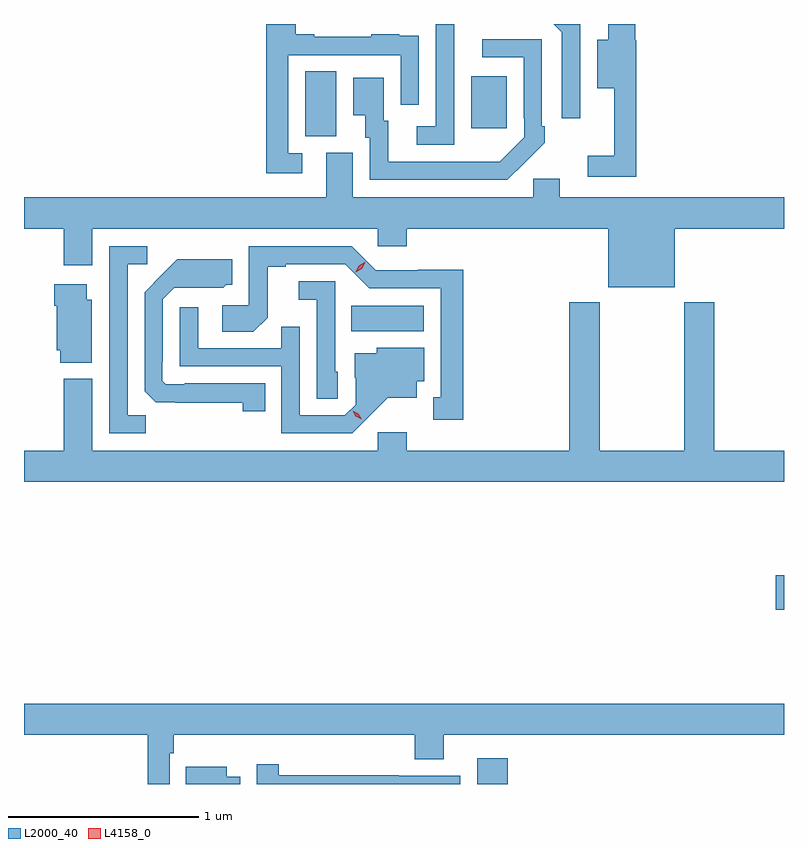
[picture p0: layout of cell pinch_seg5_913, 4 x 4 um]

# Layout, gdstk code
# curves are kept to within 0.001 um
import gdstk
lib = gdstk.Library(unit=1e-6, precision=1e-09)
def R(c, l, rs):  # rectangles x0, y0, x1, y1
    for r in rs: c.add(gdstk.rectangle(r[:2], r[2:], *l))
def P(c, l, *ps):  # polygons
    for p in ps: c.add(gdstk.Polygon(p, *l))
L2000_40 = (2000, 40)
L4158_0 = (4158, 0)

pinch_seg5_913 = lib.new_cell('pinch_seg5_913')
R(pinch_seg5_913, L2000_40, [(690.368,885.805,690.527,885.94), (691.938,886.721,691.982,886.904), (689.704,888.188,690.085,888.322), (689.462,889.213,689.626,889.556), (690.335,889.257,690.523,889.531)])
P(pinch_seg5_913, L2000_40, [(691.205,889.719),(691.199,889.719),(691.199,889.805),(691.058,889.805),(691.058,889.723),(690.998,889.723),(690.998,889.466),(691.088,889.466),(691.088,889.111),(690.948,889.111),(690.948,889.002),(691.205,889.002)],
  [(689.446,889.125),(689.373,889.125),(689.373,889.641),(689.964,889.641),(689.964,889.38),(690.06,889.38),(690.06,889.634),(690.059,889.634),(690.059,889.743),(689.957,889.743),(689.957,889.75),(689.809,889.75),(689.809,889.737),(689.509,889.737),(689.509,889.75),(689.413,889.75),(689.413,889.805),(689.257,889.805),(689.257,889.02),(689.446,889.02)],
  [(690.909,889.803),(690.907,889.805),(690.769,889.805),(690.813,889.761),(690.813,889.308),(690.909,889.308)],
  [(690.246,889.627),(690.247,889.627),(690.247,889.805),(690.15,889.805),(690.15,889.266),(690.048,889.266),(690.048,889.17),(690.246,889.17)],
  [(690.617,889.075),(690.618,889.074),(690.723,889.179),(690.723,889.267),(690.708,889.267),(690.708,889.725),(690.393,889.725),(690.393,889.629),(690.612,889.629),(690.612,889.309),(690.615,889.309),(690.615,889.209),(690.487,889.081),(689.899,889.08),(689.899,889.296),(689.875,889.296),(689.875,889.522),(689.714,889.522),(689.714,889.325),(689.777,889.325),(689.777,889.206),(689.802,889.206),(689.802,888.984),(690.526,888.984)],
  [(691.408,888.728),(691.982,888.728),(691.982,888.892),(690.802,888.892),(690.802,888.99),(690.663,888.99),(690.663,888.892),(689.713,888.892),(689.713,889.128),(689.573,889.128),(689.573,888.892),(687.982,888.892),(687.982,888.728),(688.19,888.728),(688.19,888.534),(688.342,888.534),(688.342,888.728),(689.844,888.728),(689.844,888.635),(689.996,888.635),(689.996,888.728),(691.058,888.728),(691.058,888.419),(691.408,888.419)],
  [(690.295,888.512),(690.054,888.512),(690.054,888.51),(689.832,888.51),(689.706,888.636),(689.166,888.636),(689.166,888.324),(689.025,888.324),(689.025,888.184),(689.189,888.184),(689.265,888.26),(689.265,888.528),(689.359,888.528),(689.359,888.54),(689.673,888.54),(689.799,888.414),(690.176,888.414),(690.176,887.841),(690.137,887.841),(690.137,887.721),(690.295,887.721)],
  [(688.623,887.747),(688.527,887.747),(688.527,888.54),(688.63,888.54),(688.63,888.636),(688.431,888.636),(688.431,887.652),(688.623,887.652)],
  [(689.252,887.913),(688.828,887.913),(688.828,887.91),(688.728,887.91),(688.71,887.928),(688.71,888.028),(688.713,888.028),(688.713,888.357),(688.773,888.417),(689.03,888.416),(689.046,888.432),(689.077,888.432),(689.077,888.568),(688.789,888.568),(688.617,888.394),(688.617,887.872),(688.676,887.813),(689.134,887.812),(689.134,887.766),(689.252,887.766)],
  [(689.634,887.976),(689.619,887.976),(689.619,888.45),(689.427,888.45),(689.427,888.353),(689.523,888.353),(689.523,887.833),(689.634,887.833)],
  [(688.339,888.354),(688.312,888.354),(688.312,888.436),(688.142,888.436),(688.142,888.323),(688.154,888.323),(688.154,888.087),(688.172,888.087),(688.172,888.023),(688.339,888.023)],
  [(691.982,887.56),(691.616,887.56),(691.616,888.34),(691.456,888.34),(691.456,887.56),(691.011,887.56),(691.011,888.34),(690.851,888.34),(690.851,887.56),(689.996,887.56),(689.996,887.656),(689.844,887.656),(689.844,887.56),(688.342,887.56),(688.342,887.938),(688.19,887.938),(688.19,887.56),(687.982,887.56),(687.982,887.396),(691.982,887.396)],
  [(689.794,887.735),(689.897,887.837),(690.049,887.837),(690.049,887.924),(690.088,887.924),(690.088,888.1),(689.838,888.1),(689.838,888.073),(689.723,888.073),(689.723,887.944),(689.727,887.944),(689.727,887.802),(689.67,887.745),(689.433,887.745),(689.433,888.212),(689.335,888.212),(689.335,888.099),(688.899,888.099),(688.899,888.313),(688.803,888.313),(688.803,888.003),(689.337,888.003),(689.337,887.652),(689.71,887.652)],
  [(688.749,885.968),(688.769,885.968),(688.769,886.064),(690.038,886.064),(690.038,885.934),(690.19,885.934),(690.19,886.064),(691.982,886.064),(691.982,886.228),(687.982,886.228),(687.982,886.064),(688.633,886.064),(688.633,885.805),(688.749,885.805)],
  [(690.279,885.849),(689.954,885.849),(689.954,885.851),(689.324,885.851),(689.324,885.91),(689.208,885.91),(689.208,885.805),(690.279,885.805)],
  [(689.119,885.844),(689.05,885.844),(689.05,885.895),(688.834,885.895),(688.834,885.805),(689.119,885.805)])
P(pinch_seg5_913, L4158_0, [(689.759,887.725),(689.729,887.74),(689.711,887.769),(689.711,887.77),(689.712,887.77),(689.742,887.755),(689.76,887.726),(689.76,887.725)],
  [(689.728,888.499),(689.728,888.499),(689.745,888.532),(689.776,888.551),(689.777,888.551),(689.777,888.551),(689.759,888.518),(689.728,888.499)])

lib.write_gds('pinch_seg5_913.gds')
